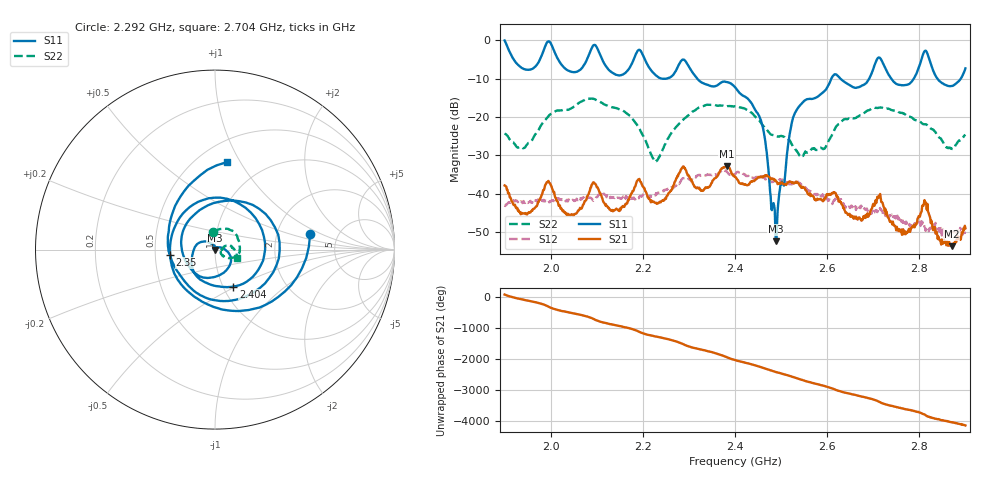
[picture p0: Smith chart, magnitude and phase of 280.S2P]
! C:\Users\rflab\Downloads\Lab5_KD_ZW\280.S2P
! Touchstone 1.1 file saved by VNA.EXE V1.65 (www.ke5fx.com/gpib/readme.htm)
! 11/12/2024 12:28:50 AM
!  Source: HEWLETT PACKARD,8753D,0,6.14
!  Min freq: 1.900000E+009 Hz
!  Max freq: 2.900000E+009 Hz
!  Points: 801
!  Params: S11 S21 S12 S22
# GHZ S RI R 50
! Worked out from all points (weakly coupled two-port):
!   801 points, 1.9 GHz to 2.9 GHz, reference 50 ohm
!   highest |S21| = -32.80 dB at 2.382 GHz (marker M1); lowest = -53.7 dB at 2.87 GHz (marker M2)
!   lowest |S11| = -52.4 dB at 2.489 GHz (marker M3), VSWR 1.00, Z = 50 - j0.239 ohm
!   |S11| at or under -10 dB: 2.318 GHz to 2.609 GHz (290.7 MHz wide, 11.8 % of centre); 2.629 GHz to 2.691 GHz (62.08 MHz wide, 2.33 % of centre); 2.839 GHz to 2.89 GHz (50.39 MHz wide, 1.76 % of centre) (the widest 3 of 7)
!   |S22| runs from -31.7 to -15.2 dB; largest |S21 - S12| = 0.0078
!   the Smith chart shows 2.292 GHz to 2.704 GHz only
!   S11 on the Smith chart (normalised r, x): 2.292 GHz: 3.11, +0.78; 2.35 GHz: 0.60, -0.04; 2.404 GHz: 1.12, -0.49; 2.704 GHz: 0.68, +0.88
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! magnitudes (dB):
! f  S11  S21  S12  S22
! 1.9 GHz  0.0  -37.8  -43.1  -24.3
! 1.939 GHz  -7.3  -45.1  -42.5  -28.0
! 1.994 GHz  -0.3  -36.9  -42.2  -20.0
! 2.067 GHz  -7.2  -43.8  -41.4  -15.9
! 2.15 GHz  -9.1  -43.9  -41.2  -18.0
! 2.192 GHz  -2.4  -36.1  -40.7  -23.1
! 2.234 GHz  -9.6  -42.5  -39.7  -30.8
! 2.292 GHz  -5.4  -33.7  -35.8  -20.2
! 2.35 GHz  -12.0  -37.1  -35.2  -16.8
! 2.382 GHz  -10.9  -32.8  -34.3  -17.2
! 2.4 GHz  -12.2  -35.6  -34.8  -17.2
! 2.404 GHz  -12.8  -36.1  -34.4  -17.2
! 2.456 GHz  -20.9  -35.6  -35.6  -21.5
! 2.489 GHz  -52.4  -36.7  -36.7  -25.0
! 2.526 GHz  -20.1  -37.1  -37.4  -27.8
! 2.567 GHz  -15.3  -40.6  -39.5  -28.2
! 2.704 GHz  -6.2  -42.4  -44.5  -17.6
! 2.734 GHz  -9.0  -46.5  -46.3  -17.8
! 2.777 GHz  -11.4  -49.2  -48.6  -19.9
! 2.812 GHz  -2.7  -42.5  -48.9  -21.8
! 2.87 GHz  -11.9  -53.7  -50.3  -28.2
! 2.9 GHz  -7.3  -49.0  -50.1  -24.6
